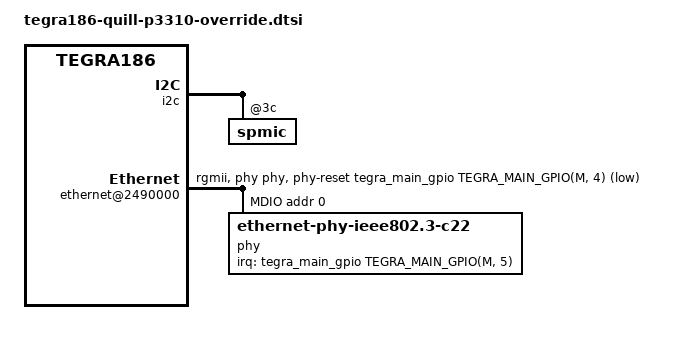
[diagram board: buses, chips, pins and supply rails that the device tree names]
/ {
	mc_sid@2c00000 {
		compatible = "nvidia,tegra186-mc";
		reg = <0x0 0x02c00000 0x0 0x000b0000>;
	};

	i2c@3160000 {
		/delete-node/ prod-settings;
	};

	i2c@c240000 {
		/delete-node/ prod-settings;
	};

	i2c@3180000 {
		/delete-node/ prod-settings;
	};

	i2c@3190000 {
		/delete-node/ prod-settings;
	};

	i2c@31b0000 {
		/delete-node/ prod-settings;
	};

	i2c@31c0000 {
		/delete-node/ prod-settings;
	};

	i2c@c250000 {
		/delete-node/ prod-settings;
	};
	i2c@31e0000 {
		/delete-node/ prod-settings;
	};

	bpmp {
		i2c {
			spmic@3c {
				interrupt-parent = <&intc>;
				interrupts = <GIC_SPI 209 IRQ_TYPE_LEVEL_HIGH>;
			};
		};
	};

	/* Upstream kernel does not implement pinctrl driver (pinmux)
           as the pinmuxing is done in MB1 */
	gpio@2200000 {
		/delete-property/ gpio-ranges;
	};

	gpio@c2f0000 {
		/delete-property/ gpio-ranges;
	};

	hda@3510000 {
		power-domains = <&bpmp TEGRA186_POWER_DOMAIN_DISP>;
	};

	ethernet@2490000 {
		compatible = "nvidia,tegra186-eqos",
			     "snps,dwc-qos-ethernet-4.10";
		reg = <0x0 0x02490000 0x0 0x10000>;
		interrupts = <GIC_SPI 194 IRQ_TYPE_LEVEL_HIGH>, /* common */
			     <GIC_SPI 195 IRQ_TYPE_LEVEL_HIGH>, /* power */
			     <GIC_SPI 190 IRQ_TYPE_LEVEL_HIGH>, /* rx0 */
			     <GIC_SPI 186 IRQ_TYPE_LEVEL_HIGH>, /* tx0 */
			     <GIC_SPI 191 IRQ_TYPE_LEVEL_HIGH>, /* rx1 */
			     <GIC_SPI 187 IRQ_TYPE_LEVEL_HIGH>, /* tx1 */
			     <GIC_SPI 192 IRQ_TYPE_LEVEL_HIGH>, /* rx2 */
			     <GIC_SPI 188 IRQ_TYPE_LEVEL_HIGH>, /* tx2 */
			     <GIC_SPI 193 IRQ_TYPE_LEVEL_HIGH>, /* rx3 */
			     <GIC_SPI 189 IRQ_TYPE_LEVEL_HIGH>; /* tx3 */
		clocks = <&bpmp TEGRA186_CLK_AXI_CBB>,
			 <&bpmp TEGRA186_CLK_EQOS_AXI>,
			 <&bpmp TEGRA186_CLK_EQOS_RX>,
			 <&bpmp TEGRA186_CLK_EQOS_TX>,
			 <&bpmp TEGRA186_CLK_EQOS_PTP_REF>;
		clock-names = "master_bus", "slave_bus", "rx", "tx", "ptp_ref";
		resets = <&bpmp TEGRA186_RESET_EQOS>;
		reset-names = "eqos";

		snps,write-requests = <1>;
		snps,read-requests = <3>;
		snps,burst-map = <0x7>;
		snps,txpbl = <32>;
		snps,rxpbl = <8>;
		status = "okay";

		phy-reset-gpios = <&tegra_main_gpio TEGRA_MAIN_GPIO(M, 4) GPIO_ACTIVE_LOW>;
		phy-handle = <&phy>;
		phy-mode = "rgmii";

		/delete-property/ pinctrl-names;
		/delete-property/ pinctrl-0;
		/delete-property/ pinctrl-1;

		mdio {
			#address-cells = <1>;
			#size-cells = <0>;

			phy: phy@0 {
				compatible = "ethernet-phy-ieee802.3-c22";
				reg = <0x0>;
				interrupt-parent = <&tegra_main_gpio>;
				interrupts = <TEGRA_MAIN_GPIO(M, 5) IRQ_TYPE_LEVEL_LOW>;
			};
		};
	};

	host1x@13e00000 {
		reset-names = "host1x";
		reg-names = "vm", "hypervisor";

		/delete-node/ display-hub@15200000;
		/delete-node/ sor;
		/delete-node/ sor1;
	};

	plugin-manager {
		fragement@6 {
			override@7 {
				_overlay_ {
					/delete-node/ display-hub@15200000;
					/delete-node/ sor;
					/delete-node/ sor1;
				};
			};
		};

		fragment-e3320-a00@1 {
			overrides@2 {
				_overlay_ {
					/delete-node/ display-hub@15200000;
				};
			};
		};

		fragment-e3320-a01@1 {
			overrides@3 {
				_overlay_ {
					/delete-node/ display-hub@15200000;
				};
			};
		};

		fragment-e3320-a00@3 {
			overrides@0 {
				_overlay_ {
					/delete-node/ display-hub@15200000;
				};
			};
		};

		fragment-e3320-dp {
			override@0 {
				_overlay_ {
					/delete-node/ display-hub@15200000;
					/delete-node/ sor;
				};
			};
		};

		fragment-e1824-a00@3 {
			overrides@0 {
				_overlay_ {
					/delete-node/ display-hub@15200000;
					/delete-node/ sor;
				};
			};
		};
	};
};
